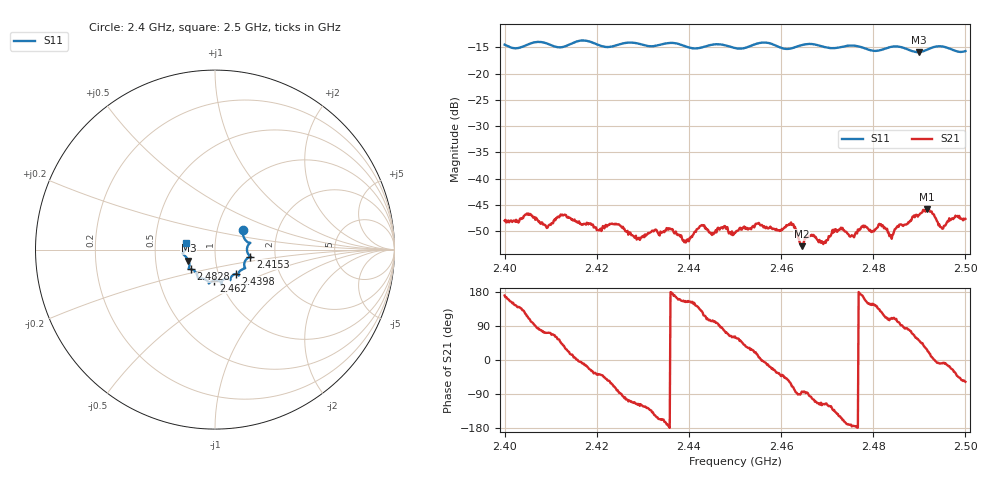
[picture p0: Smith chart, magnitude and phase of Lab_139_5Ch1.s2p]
# Hz S RI R
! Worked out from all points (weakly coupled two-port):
!   601 points, 2.4 GHz to 2.5 GHz, reference 50 ohm
!   highest |S21| = -45.83 dB at 2.4917 GHz (marker M1); lowest = -52.9 dB at 2.4645 GHz (marker M2)
!   lowest |S11| = -15.9 dB at 2.4898 GHz (marker M3), VSWR 1.38, Z = 36.9 - j4.64 ohm
!   |S11| at or under -10 dB: start of sweep to end of sweep
!   S12 and S22 are empty: the file has one direction only
!   S11 on the Smith chart (normalised r, x): 2.4 GHz: 1.33, +0.30; 2.4153 GHz: 1.48, -0.12; 2.4398 GHz: 1.21, -0.34; 2.462 GHz: 0.93, -0.33; 2.4828 GHz: 0.74, -0.17; 2.5 GHz: 0.72, +0.06
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2.4e9  0.1553 0.1072  -0.00392 0.000678  0 0  0 0
2.415333e9  0.1962 -0.039  0.00391 0.000393  0 0  0 0
2.416667e9  0.2022 -0.043  0.00362 -0.000348  0 0  0 0
2.424333e9  0.163 -0.0906  0.000644 -0.00362  0 0  0 0
2.429167e9  0.1606 -0.1062  -0.00123 -0.00244  0 0  0 0
2.433333e9  0.1305 -0.1335  -0.00273 -0.00128  0 0  0 0
2.439833e9  0.1155 -0.1356  -0.00233 0.00105  0 0  0 0
2.442833e9  0.0901 -0.1531  -0.00224 0.00283  0 0  0 0
2.45e9  0.0656 -0.1626  0.00142 0.00267  0 0  0 0
2.462e9  -0.00533 -0.1731  0.00182 -0.00317  0 0  0 0
2.4645e9  -0.0307 -0.1848  0.000257 -0.00226  0 0  0 0
2.466667e9  -0.0345 -0.1882  -0.000532 -0.00287  0 0  0 0
2.469167e9  -0.0408 -0.1758  -0.00106 -0.00213  0 0  0 0
2.472833e9  -0.0789 -0.16  -0.00285 -0.00171  0 0  0 0
2.475333e9  -0.0937 -0.1599  -0.00288 -0.000241  0 0  0 0
2.477833e9  -0.0983 -0.1462  -0.00347 0.000838  0 0  0 0
2.482833e9  -0.1362 -0.109  -0.00125 0.00303  0 0  0 0
2.483333e9  -0.1401 -0.1089  -0.000992 0.00288  0 0  0 0
2.489833e9  -0.1478 -0.0613  0.00271 0.00356  0 0  0 0
2.491667e9  -0.1644 -0.0378  0.00455 0.00234  0 0  0 0
2.494667e9  -0.1806 -0.0208  0.00341 -0.000521  0 0  0 0
2.5e9  -0.1591 0.0389  0.00222 -0.00349  0 0  0 0
